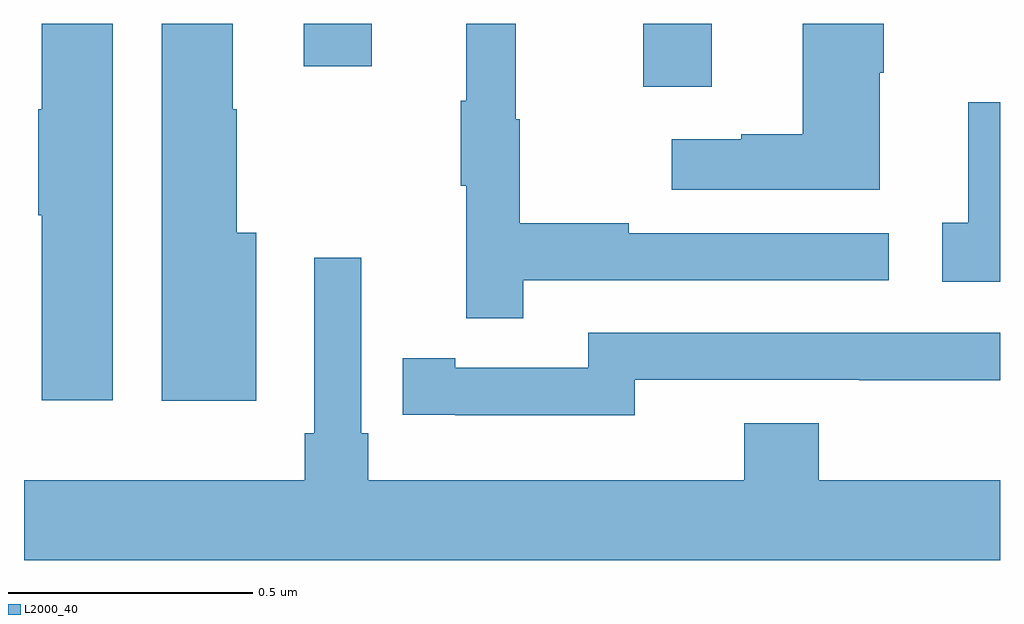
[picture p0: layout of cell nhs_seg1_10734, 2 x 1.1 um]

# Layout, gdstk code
import gdstk
lib = gdstk.Library(unit=1e-6, precision=1e-09)
def R(c, l, rs):  # rectangles x0, y0, x1, y1
    for r in rs: c.add(gdstk.rectangle(r[:2], r[2:], *l))
def P(c, l, *ps):  # polygons
    for p in ps: c.add(gdstk.Polygon(p, *l))
L2000_40 = (2000, 40)

nhs_seg1_10734 = lib.new_cell('nhs_seg1_10734')
R(nhs_seg1_10734, L2000_40, [(246.269,518.07,246.409,518.199), (245.573,518.112,245.713,518.199)])
P(nhs_seg1_10734, L2000_40, [(246.754,518.099),(246.762,518.099),(246.762,518.199),(246.596,518.199),(246.596,517.973),(246.47,517.973),(246.47,517.963),(246.327,517.963),(246.327,517.859),(246.754,517.859)],
  [(245.476,517.771),(245.436,517.771),(245.436,518.024),(245.428,518.024),(245.428,518.199),(245.282,518.199),(245.282,517.427),(245.476,517.427)],
  [(245.182,518.199),(245.036,518.199),(245.036,518.024),(245.029,518.024),(245.029,517.807),(245.036,517.807),(245.036,517.428),(245.182,517.428)],
  [(246.023,517.674),(246.772,517.674),(246.772,517.77),(246.239,517.77),(246.239,517.79),(246.016,517.79),(246.016,518.004),(246.008,518.004),(246.008,518.199),(245.906,518.199),(245.906,518.041),(245.895,518.041),(245.895,517.867),(245.906,517.867),(245.906,517.596),(246.023,517.596)],
  [(247,518.038),(246.935,518.038),(246.935,517.791),(246.882,517.791),(246.882,517.671),(247,517.671)],
  [(247,517.264),(246.629,517.264),(246.629,517.381),(246.476,517.381),(246.476,517.264),(245.705,517.264),(245.705,517.36),(245.691,517.36),(245.691,517.72),(245.595,517.72),(245.595,517.36),(245.575,517.36),(245.575,517.264),(245,517.264),(245,517.1),(247,517.1)],
  [(246.252,517.47),(246.712,517.47),(246.712,517.469),(247,517.469),(247,517.566),(246.156,517.566),(246.156,517.494),(245.884,517.494),(245.884,517.514),(245.776,517.514),(245.776,517.398),(245.884,517.398),(245.884,517.397),(246.252,517.397)])

lib.write_gds('nhs_seg1_10734.gds')
